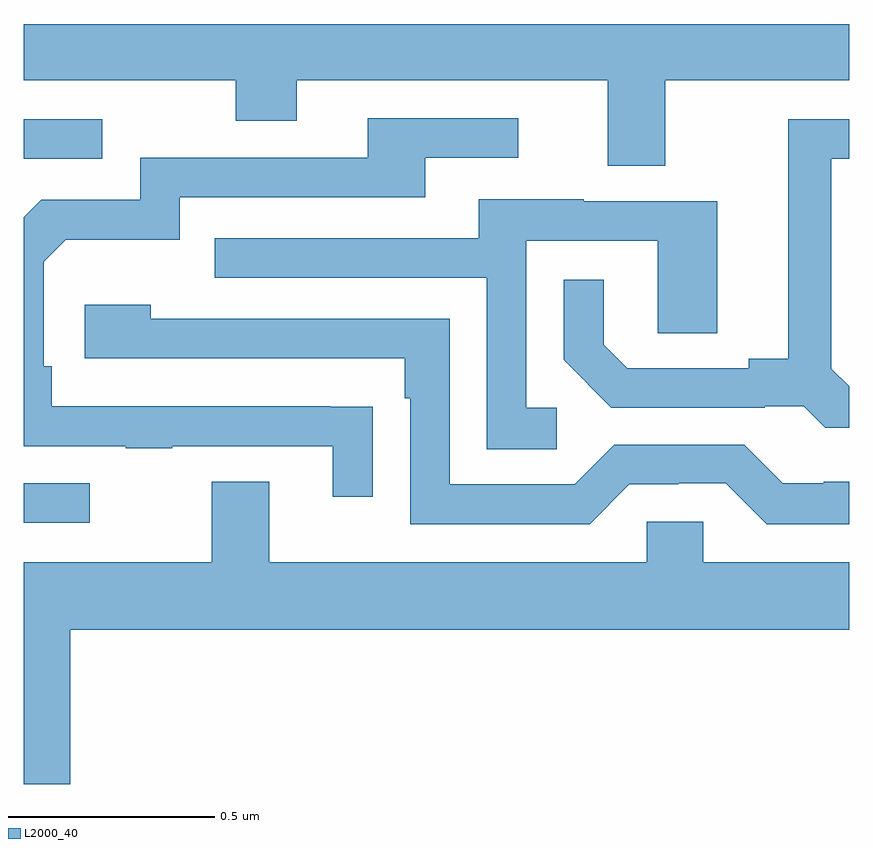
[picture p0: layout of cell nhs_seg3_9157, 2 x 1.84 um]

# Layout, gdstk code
import gdstk
lib = gdstk.Library(unit=1e-6, precision=1e-09)
def R(c, l, rs):  # rectangles x0, y0, x1, y1
    for r in rs: c.add(gdstk.rectangle(r[:2], r[2:], *l))
def P(c, l, *ps):  # polygons
    for p in ps: c.add(gdstk.Polygon(p, *l))
L2000_40 = (2000, 40)

nhs_seg3_9157 = lib.new_cell('nhs_seg3_9157')
R(nhs_seg3_9157, L2000_40, [(225,685.191,225.16,685.287), (225,686.073,225.19,686.169)])
P(nhs_seg3_9157, L2000_40, [(226.555,686.264),(227,686.264),(227,686.4),(225,686.4),(225,686.264),(225.514,686.264),(225.514,686.165),(225.661,686.165),(225.661,686.264),(226.415,686.264),(226.415,686.056),(226.555,686.056)],
  [(225.845,685.472),(225.743,685.472),(225.743,685.473),(225.068,685.473),(225.068,685.57),(225.048,685.57),(225.048,685.824),(225.101,685.877),(225.378,685.877),(225.378,685.98),(225.973,685.98),(225.973,686.076),(226.198,686.076),(226.198,686.172),(225.833,686.172),(225.833,686.076),(225.282,686.076),(225.282,685.974),(225.042,685.974),(225,685.932),(225,685.377),(225.247,685.377),(225.247,685.372),(225.359,685.372),(225.359,685.377),(225.749,685.377),(225.749,685.254),(225.845,685.254)],
  [(227,685.522),(226.957,685.565),(226.957,686.073),(227,686.073),(227,686.169),(226.853,686.169),(226.853,685.589),(226.757,685.589),(226.757,685.566),(226.462,685.566),(226.405,685.623),(226.405,685.78),(226.308,685.78),(226.308,685.586),(226.424,685.47),(226.796,685.47),(226.796,685.473),(226.89,685.473),(226.942,685.421),(227,685.421)],
  [(226.291,685.47),(226.218,685.47),(226.218,685.875),(226.536,685.875),(226.536,685.651),(226.681,685.651),(226.681,685.971),(226.357,685.971),(226.357,685.975),(226.103,685.975),(226.103,685.881),(225.463,685.881),(225.463,685.785),(226.122,685.785),(226.122,685.369),(226.291,685.369)],
  [(227,685.291),(226.939,685.291),(226.939,685.287),(226.839,685.287),(226.746,685.38),(226.431,685.38),(226.335,685.284),(226.032,685.284),(226.032,685.686),(225.308,685.686),(225.308,685.72),(225.147,685.72),(225.147,685.59),(225.923,685.59),(225.923,685.493),(225.936,685.493),(225.936,685.188),(226.371,685.188),(226.467,685.284),(226.586,685.284),(226.586,685.287),(226.701,685.287),(226.801,685.187),(227,685.187)],
  [(227,685.096),(226.647,685.096),(226.647,685.194),(226.509,685.194),(226.509,685.096),(225.595,685.096),(225.595,685.291),(225.455,685.291),(225.455,685.096),(225,685.096),(225,684.558),(225.112,684.558),(225.112,684.932),(227,684.932)])

lib.write_gds('nhs_seg3_9157.gds')
